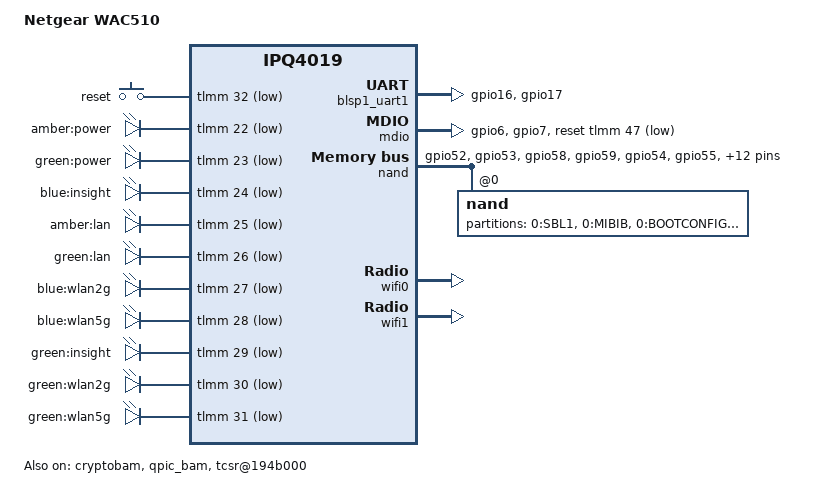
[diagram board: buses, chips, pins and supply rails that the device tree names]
// SPDX-License-Identifier: GPL-2.0-or-later OR MIT
/* Copyright (c) 2021, Marcel Ziswiler <marcel@ziswiler.com> */

#include "qcom-ipq4019.dtsi"
#include <dt-bindings/gpio/gpio.h>
#include <dt-bindings/input/input.h>
#include <dt-bindings/soc/qcom,tcsr.h>

/ {
	model = "Netgear WAC510";
	compatible = "netgear,wac510";

	aliases {
		label-mac-device = &gmac0;
		led-boot = &power_led_amber;
		led-failsafe = &insight_led_green;
		led-running = &power_led_green;
		led-upgrade = &insight_led_blue;
	};

	chosen {
		bootargs-append = " root=/dev/ubiblock0_1";
	};

	keys {
		compatible = "gpio-keys";
		pinctrl-0 = <&reset_pins>;
		pinctrl-names = "default";

		reset {
			label = "reset";
			gpios = <&tlmm 32 GPIO_ACTIVE_LOW>;
			linux,code = <KEY_RESTART>;
		};
	};

	leds {
		compatible = "gpio-leds";
		pinctrl-0 = <&led_pins>;
		pinctrl-names = "default";

		power_led_amber: power_amber {
			label = "amber:power";
			gpios = <&tlmm 22 GPIO_ACTIVE_LOW>;
			panic-indicator;
		};

		power_led_green: power_green {
			label = "green:power";
			gpios = <&tlmm 23 GPIO_ACTIVE_LOW>;
		};

		insight_led_blue: insight_blue {
			label = "blue:insight";
			gpios = <&tlmm 24 GPIO_ACTIVE_LOW>;
		};

		lan_amber {
			label = "amber:lan";
			gpios = <&tlmm 25 GPIO_ACTIVE_LOW>;
		};

		lan_green {
			label = "green:lan";
			gpios = <&tlmm 26 GPIO_ACTIVE_LOW>;
		};

		wlan2g_blue {
			label = "blue:wlan2g";
			gpios = <&tlmm 27 GPIO_ACTIVE_LOW>;
			linux,default-trigger = "phy0tpt";
		};

		wlan5g_blue {
			label = "blue:wlan5g";
			gpios = <&tlmm 28 GPIO_ACTIVE_LOW>;
			linux,default-trigger = "phy1tpt";
		};

		insight_led_green: insight_green {
			label = "green:insight";
			gpios = <&tlmm 29 GPIO_ACTIVE_LOW>;
			linux,default-trigger = "heartbeat";
		};

		wlan2g_green {
			label = "green:wlan2g";
			gpios = <&tlmm 30 GPIO_ACTIVE_LOW>;
			linux,default-trigger = "phy0radio";
		};

		wlan5g_green {
			label = "green:wlan5g";
			gpios = <&tlmm 31 GPIO_ACTIVE_LOW>;
			linux,default-trigger = "phy1radio";
		};
	};

	soc {
		rng@22000 {
			status = "okay";
		};

		ess-psgmii@98000 {
			status = "okay";
		};

		counter@4a1000 {
			compatible = "qcom,qca-gcnt";
			reg = <0x4a1000 0x4>;
		};

		tcsr@1949000 {
			compatible = "qcom,tcsr";
			qcom,wifi_glb_cfg = <TCSR_WIFI_GLB_CFG>;
			reg = <0x1949000 0x100>;
		};

		tcsr@194b000 {
			compatible = "qcom,tcsr";
			qcom,usb-hsphy-mode-select = <TCSR_USB_HSPHY_HOST_MODE>;
			reg = <0x194b000 0x100>;
			status = "okay";
		};

		ess_tcsr@1953000 {
			compatible = "qcom,tcsr";
			qcom,ess-interface-select = <TCSR_ESS_PSGMII>;
			reg = <0x1953000 0x1000>;
		};

		tcsr@1957000 {
			compatible = "qcom,tcsr";
			qcom,wifi_noc_memtype_m0_m2 = <TCSR_WIFI_NOC_MEMTYPE_M0_M2>;
			reg = <0x1957000 0x100>;
		};

		crypto@8e3a000 {
			status = "okay";
		};

		watchdog@b017000 {
			status = "okay";
		};

		ess-switch@c000000 {
			switch_lan_bmp = <0x1e>; /* lan port bitmap */
			switch_mac_mode = <0>; /* PORT_WRAPPER_PSGMII */
			switch_wan_bmp = <0x20>; /* wan port bitmap */
			status = "okay";
		};

		edma@c080000 {
//			phy-mode = "rgmii-rxid";
//			qcom,num_gmac = <1>;
//			qcom,single-phy;
			status = "okay";
		};
	};
};

&blsp_dma {
	status = "okay";
};

&blsp1_uart1 {
	pinctrl-0 = <&serial_pins>;
	pinctrl-names = "default";
	status = "okay";
};

&cryptobam {
	status = "okay";
};

&gmac0 {
	qcom,forced_duplex = <1>;
	qcom,forced_speed = <1000>;
	qcom,phy_mdio_addr = <3>;
	qcom,poll_required = <1>;
	vlan_tag = <1 0x10>;
};

&mdio {
	pinctrl-0 = <&mdio_pins>;
	pinctrl-names = "default";
	reset-delay-us = <2000>;
	reset-gpios = <&tlmm 47 GPIO_ACTIVE_LOW>;
	status = "okay";
};

&nand {
	pinctrl-0 = <&nand_pins>;
	pinctrl-names = "default";
	status = "okay";

	nand@0 {
		partitions {
			compatible = "fixed-partitions";
			#address-cells = <1>;
			#size-cells = <1>;

			partition@0 {
				label = "0:SBL1";
				reg = <0x00000000 0x00100000>;
				read-only;
			};

			partition@100000 {
				label = "0:MIBIB";
				reg = <0x00100000 0x00100000>;
				read-only;
			};

			partition@200000 {
				label = "0:BOOTCONFIG";
				reg = <0x00200000 0x00100000>;
				read-only;
			};

			partition@300000 {
				label = "0:QSEE";
				reg = <0x00300000 0x00100000>;
				read-only;
			};

			partition@400000 {
				label = "0:CDT";
				reg = <0x00400000 0x00080000>;
				read-only;
			};

			partition@480000 {
				label = "0:APPSBLENV";
				reg = <0x00480000 0x00080000>;
			};

			partition@500000 {
				label = "0:APPSBL";
				reg = <0x000500000 0x00200000>;
				read-only;
			};

			partition@700000 {
				label = "0:MANUDATA";
				reg = <0x00700000 0x00080000>;
				read-only;
			};

			partition@780000 {
				label = "0:ART";
				reg = <0x00780000 0x00080000>;
				read-only;
			};

			partition@800000 {
				label = "rootfs";
				reg = <0x00800000 0x03400000>;
			};

			partition@3c00000 {
				label = "rootfs_1";
				reg = <0x03c00000 0x03400000>;
			};

			partition@7000000 {
				label = "sys_config_log";
				reg = <0x07000000 0x00f00000>;
				read-only;
			};

			partition@7f00000 {
				label = "Oops_log";
				reg = <0x07f00000 0x00080000>;
				read-only;
			};
		};
	};
};

&qpic_bam {
	status = "okay";
};

&tlmm {
	led_pins: led_pinmux {
		mux {
			pins =	"gpio22", "gpio23", "gpio24", "gpio25",
				"gpio26", "gpio27", "gpio28", "gpio29",
				"gpio30", "gpio31";
			function = "gpio";
			bias-pull-up;
		};
	};

	mdio_pins: mdio_pinmux {
		mux_1 {
			pins = "gpio6";
			function = "mdio";
			bias-pull-up;
		};

		mux_2 {
			pins = "gpio7";
			function = "mdc";
			bias-pull-up;
		};
	};

	nand_pins: nand_pins {
		pullups {
			pins =	"gpio52", "gpio53", "gpio58",
				"gpio59";
			function = "qpic";
			bias-pull-up;
		};

		pulldowns {
			pins =	"gpio54", "gpio55", "gpio56",
				"gpio57", "gpio60", "gpio61",
				"gpio62", "gpio63", "gpio64",
				"gpio65", "gpio66", "gpio67",
				"gpio68", "gpio69";
			function = "qpic";
			bias-pull-down;
		};
	};

	reset_pins: reset_pinmux {
		mux {
			pins = "gpio32";
			function = "gpio";
			bias-pull-up;
		};
	};

	serial_pins: serial_pinmux {
		mux {
			pins = "gpio16", "gpio17";
			function = "blsp_uart0";
			bias-disable;
		};
	};
};

&wifi0 {
	qcom,ath10k-calibration-variant = "Netgear-WAC510";
	status = "okay";
};

&wifi1 {
	qcom,ath10k-calibration-variant = "Netgear-WAC510";
	status = "okay";
};
